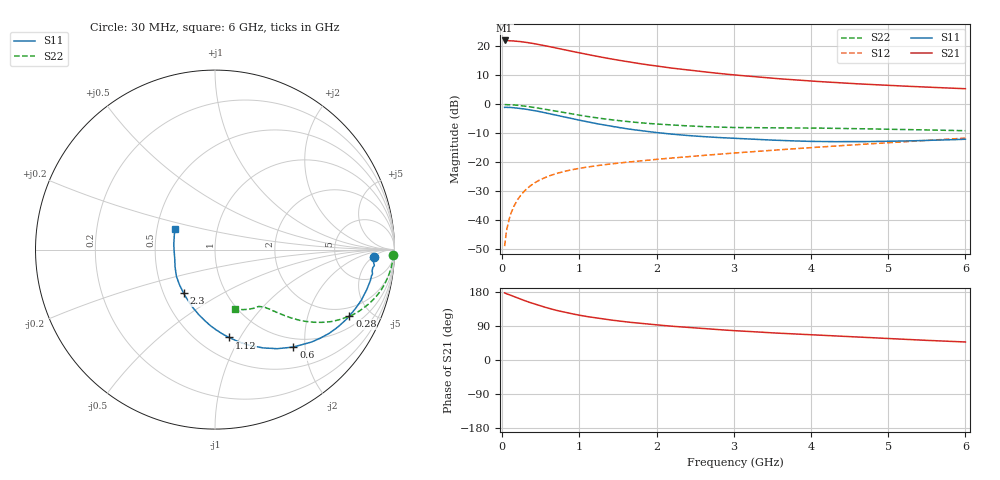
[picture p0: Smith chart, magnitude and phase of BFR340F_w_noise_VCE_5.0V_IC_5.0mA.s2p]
! Infineon Technologies  Discrete & RF Semiconductors
! BFR340F
! VCE =  5.0 V,  IC =  5.0 mA
! Common Emitter S-Parameters:  Nov 2015
# GHz  S  MA  R  50
!  f  S11  S21  S12  S22
! GHz  MAG  ANG  MAG  ANG  MAG  ANG  MAG  ANG
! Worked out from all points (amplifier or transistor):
!   206 points, 30 MHz to 6 GHz, reference 50 ohm
!   highest |S21| = 22.0 dB at 30 MHz (marker M1)
!   |S21| within 3 dB of that: start of sweep to 767.8 MHz
!   unconditionally stable (mu >= 1): 3.348 GHz to end of sweep
!   at 200 MHz: K = 0.12, MSG = 27.3 dB, |S12| = -32.8 dB
!   at 1.56 GHz: K = 0.73, MSG = 17.5 dB, |S12| = -20.1 dB
!   at 6 GHz: K = 1.00, MAG = 8.1 dB, |S12| = -11.6 dB
!   lowest NFmin = 1.09 dB at 450 MHz
!   S11 on the Smith chart (normalised r, x): 30 MHz: 14, -6; 280 MHz: 1.52, -3.71; 600 MHz: 0.84, -1.77; 1.12 GHz: 0.69, -0.90; 2.3 GHz: 0.63, -0.34; 6 GHz: 0.62, +0.15
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0.03  0.8888 -2.8  12.64 177.1  0.0036 87.5  0.9918 -1.6
0.05  0.8862 -4.6  12.53 174.9  0.006 87.7  0.9909 -2.8
0.07  0.8848 -6.6  12.59 173.5  0.0083 85.2  0.9905 -4.0
0.14  0.8776 -13.4  12.42 168.3  0.0164 82.4  0.9792 -8.1
0.28  0.8351 -26.2  11.87 157.4  0.0314 75.9  0.9388 -15.7
0.36  0.8049 -33.0  11.45 151.6  0.0391 72.6  0.9083 -19.5
0.45  0.7658 -40.2  10.91 145.5  0.0469 69.3  0.8706 -23.4
0.6  0.6966 -51.2  9.976 136.4  0.058 64.8  0.8041 -28.8
0.7  0.6517 -57.9  9.36 131.0  0.0643 62.4  0.7613 -31.8
0.8  0.6092 -64.0  8.766 126.3  0.0698 60.6  0.721 -34.2
0.9  0.5705 -69.7  8.228 122.0  0.0747 59.0  0.6838 -36.3
1.04  0.5209 -76.9  7.539 116.8  0.0807 57.5  0.6376 -38.7
1.12  0.4958 -80.9  7.176 114.0  0.0839 56.9  0.6141 -39.9
1.3  0.4467 -89.3  6.459 108.4  0.0905 55.8  0.5679 -42.0
1.52  0.3977 -98.6  5.736 102.6  0.0978 55.3  0.5231 -44.0
1.72  0.3636 -106.4  5.191 98.1  0.1042 55.2  0.4915 -45.4
2.02  0.3247 -116.7  4.541 92.3  0.1136 55.5  0.4569 -47.1
2.3  0.2985 -126.0  4.066 87.6  0.1223 56.0  0.4335 -48.6
3.1  0.2564 -147.8  3.139 76.4  0.1482 57.5  0.3983 -53.0
4.1  0.2293 -168.7  2.477 65.5  0.1835 58.9  0.39 -57.2
5.1  0.2325 170.3  2.097 55.6  0.2226 58.9  0.3714 -64.1
6  0.2508 152.9  1.863 47.5  0.262 58.2  0.3519 -71.5
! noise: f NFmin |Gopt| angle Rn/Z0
0.45  1.09  0.48  3  0.33
0.9  1.1  0.48  12  0.36
1.9  1.33  0.35  18  0.33
2.4  1.45  0.32  29  0.31
